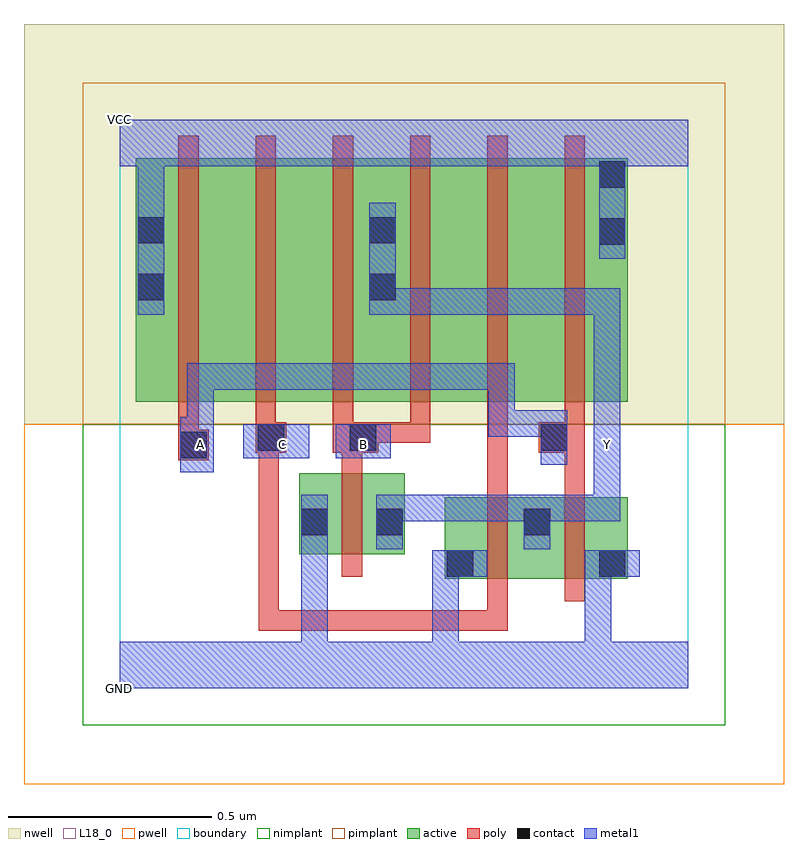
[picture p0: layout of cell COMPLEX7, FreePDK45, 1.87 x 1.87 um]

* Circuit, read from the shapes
.subckt COMPLEX7 A B C GND VCC Y
M1 Y B GND VSUBS nfet w=0.2u l=0.05u
M2 Y C GND VSUBS nfet w=0.2u l=0.05u
M3 GND A Y VSUBS nfet w=0.2u l=0.05u
M4 n1 A VCC n2 pfet w=0.6u l=0.05u
M5 n3 C n1 n2 pfet w=0.6u l=0.05u
M6 Y B n3 n2 pfet w=0.6u l=0.05u
M7 n4 B Y n2 pfet w=0.6u l=0.05u
M8 n5 C n4 n2 pfet w=0.6u l=0.05u
M9 VCC A n5 n2 pfet w=0.6u l=0.05u
.ends

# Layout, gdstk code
import gdstk
lib = gdstk.Library(unit=1e-6, precision=1e-09)
def R(c, l, rs):  # rectangles x0, y0, x1, y1
    for r in rs: c.add(gdstk.rectangle(r[:2], r[2:], *l))
def A(c, l, x, y, w, h, nx, ny, dx, dy):  # array of equal rectangles
    R(c, l, [(x+i*dx, y+j*dy, x+i*dx+w, y+j*dy+h) for i in range(nx) for j in range(ny)])
active = (1, 0)
pwell = (2, 0)
nwell = (3, 0)
nimplant = (4, 0)
pimplant = (5, 0)
poly = (9, 0)
contact = (10, 0)
metal1 = (11, 0)
L18_0 = (18, 0)
boundary = (235, 0)

complex7 = lib.new_cell('COMPLEX7')
R(complex7, active, [(0.8,0.27,0.875,0.47), (0.8,0.27,1.065,0.47), (0.99,0.27,1.25,0.47), (1.175,0.27,1.25,0.47), (0.442,0.33,0.517,0.53), (0.442,0.33,0.702,0.53), (0.627,0.33,0.702,0.53), (0.99,0.332,1.065,0.47), (0.04,0.705,0.115,1.305), (0.04,0.705,0.265,1.305), (0.265,0.705,0.455,1.305), (0.455,0.705,0.685,1.305), (0.61,0.705,0.835,1.305), (0.835,0.705,1.025,1.305), (1.025,0.705,1.25,1.305), (1.175,0.705,1.25,1.305), (0.61,0.707,0.685,1.2)])
R(complex7, pwell, [(-0.235,-0.235,1.635,0.65)])
R(complex7, nwell, [(-0.235,0.65,1.635,1.635)])
R(complex7, nimplant, [(-0.09,-0.09,1.49,0.65)])
R(complex7, pimplant, [(-0.09,0.65,1.49,1.49)])
A(complex7, poly, 0.335, 0.605, 0.05, 0.095, 3, 1, 0.19, 0)
A(complex7, poly, 0.145, 0.65, 0.05, 0.71, 6, 1, 0.19, 0)
R(complex7, poly, [(0.342,0.142,0.392,0.192), (0.342,0.142,0.392,0.192), (0.342,0.142,0.392,0.192), (0.342,0.142,0.525,0.192), (0.342,0.142,0.392,0.617), (0.475,0.142,0.525,0.192), (0.475,0.142,0.67,0.192), (0.62,0.142,0.67,0.192), (0.62,0.142,0.802,0.192), (0.752,0.142,0.802,0.192), (0.752,0.142,0.802,0.192), (0.752,0.142,0.802,0.192), (0.752,0.142,0.955,0.192), (0.905,0.142,0.955,0.192), (0.905,0.142,0.955,0.265), (0.905,0.215,0.955,0.525), (1.095,0.215,1.145,0.525), (0.547,0.275,0.597,0.585), (0.905,0.475,0.955,0.57), (1.095,0.475,1.145,0.63), (0.905,0.52,0.955,0.7), (0.905,0.52,0.955,0.57), (0.547,0.535,0.597,0.63), (0.145,0.562,0.22,0.637), (0.342,0.567,0.392,0.617), (0.342,0.567,0.392,0.617), (0.342,0.567,0.392,0.617), (0.342,0.567,0.392,0.63), (0.335,0.58,0.41,0.655), (0.525,0.58,0.637,0.655), (1.032,0.58,1.145,0.655), (0.145,0.587,0.195,0.7), (0.582,0.605,0.632,0.655), (0.582,0.605,0.637,0.655), (0.587,0.605,0.765,0.655), (0.715,0.605,0.765,0.655), (1.095,0.605,1.145,0.7)])
R(complex7, contact, [(0.805,0.275,0.87,0.34), (1.18,0.275,1.245,0.34), (0.447,0.377,0.512,0.442), (0.632,0.377,0.697,0.442), (0.995,0.377,1.06,0.442), (0.15,0.567,0.215,0.632), (0.34,0.585,0.405,0.65), (0.567,0.585,0.632,0.65), (1.037,0.585,1.102,0.65), (0.045,0.955,0.11,1.02), (0.615,0.955,0.68,1.02), (1.18,1.092,1.245,1.157), (0.045,1.095,0.11,1.16), (0.615,1.095,0.68,1.16), (1.18,1.232,1.245,1.297)])
R(complex7, metal1, [(0,0,1.4,0.115), (0.447,0.05,0.512,0.115), (0.447,0.05,0.512,0.115), (0.447,0.05,0.512,0.115), (0.447,0.05,0.512,0.115), (0.447,0.05,0.512,0.407), (0.77,0.05,0.835,0.115), (0.77,0.05,0.835,0.115), (0.77,0.05,0.835,0.34), (1.145,0.05,1.21,0.115), (1.145,0.05,1.21,0.115), (1.145,0.05,1.21,0.34), (0.77,0.275,0.835,0.34), (0.77,0.275,0.835,0.34), (0.77,0.275,0.905,0.34), (1.145,0.275,1.21,0.34), (1.145,0.275,1.21,0.34), (1.145,0.275,1.28,0.34), (0.447,0.342,0.512,0.477), (0.632,0.342,0.697,0.477), (0.995,0.342,1.06,0.477), (0.632,0.412,0.697,0.477), (0.632,0.412,0.697,0.477), (0.632,0.412,0.835,0.477), (0.77,0.412,0.835,0.477), (0.77,0.412,0.835,0.477), (0.77,0.412,0.835,0.477), (0.77,0.412,1.06,0.477), (0.995,0.412,1.11,0.477), (1.045,0.412,1.11,0.477), (1.045,0.412,1.232,0.477), (1.167,0.412,1.232,0.477), (1.167,0.412,1.232,0.597), (0.15,0.532,0.232,0.667), (1.167,0.532,1.232,0.667), (1.037,0.55,1.102,0.685), (0.305,0.567,0.467,0.65), (0.532,0.567,0.667,0.65), (0.167,0.602,0.232,0.667), (0.167,0.602,0.232,0.667), (0.167,0.602,0.232,0.8), (1.167,0.602,1.232,0.792), (0.907,0.62,0.972,0.685), (0.907,0.62,1.102,0.685), (0.907,0.62,0.972,0.8), (1.167,0.727,1.232,0.985), (1.167,0.727,1.232,0.792), (0.167,0.735,0.232,0.8), (0.167,0.735,0.405,0.8), (0.34,0.735,0.405,0.8), (0.34,0.735,0.405,0.8), (0.34,0.735,0.405,0.8), (0.34,0.735,0.542,0.8), (0.477,0.735,0.542,0.8), (0.477,0.735,0.697,0.8), (0.632,0.735,0.697,0.8), (0.632,0.735,0.697,0.8), (0.632,0.735,0.697,0.8), (0.632,0.735,0.835,0.8), (0.77,0.735,0.835,0.8), (0.77,0.735,0.835,0.8), (0.77,0.735,0.835,0.8), (0.77,0.735,0.972,0.8), (0.907,0.735,0.972,0.8), (0.045,0.92,0.11,1.195), (0.615,0.92,0.68,1.195), (0.615,0.92,0.68,0.985), (0.615,0.92,0.68,0.985), (0.615,0.92,0.835,0.985), (0.77,0.92,0.835,0.985), (0.77,0.92,0.835,0.985), (0.77,0.92,0.835,0.985), (0.77,0.92,1.072,0.985), (1.007,0.92,1.072,0.985), (1.007,0.92,1.092,0.985), (1.027,0.92,1.232,0.985), (1.027,0.92,1.092,0.985), (1.167,0.92,1.232,0.985), (1.18,1.057,1.245,1.332), (0.045,1.13,0.11,1.35), (1.18,1.267,1.245,1.35), (0,1.285,1.4,1.4)])
A(complex7, L18_0, 0.167, 0.567, 0.065, 0.065, 3, 1, 0.2, 0)
R(complex7, L18_0, [(0,0,1.4,0.115), (0.447,0.05,0.512,0.115), (0.447,0.05,0.512,0.115), (0.447,0.05,0.512,0.115), (0.447,0.05,0.512,0.115), (0.447,0.05,0.512,0.407), (0.77,0.05,0.835,0.115), (0.77,0.05,0.835,0.115), (0.77,0.05,0.835,0.34), (1.145,0.05,1.21,0.115), (1.145,0.05,1.21,0.115), (1.145,0.05,1.21,0.34), (0.77,0.275,0.835,0.34), (0.77,0.275,0.835,0.34), (0.77,0.275,0.905,0.34), (1.145,0.275,1.21,0.34), (1.145,0.275,1.21,0.34), (1.145,0.275,1.28,0.34), (0.447,0.342,0.512,0.477), (0.632,0.342,0.697,0.477), (0.995,0.342,1.06,0.477), (0.632,0.412,0.697,0.477), (0.632,0.412,0.697,0.477), (0.632,0.412,0.835,0.477), (0.77,0.412,0.835,0.477), (0.77,0.412,0.835,0.477), (0.77,0.412,0.835,0.477), (0.77,0.412,1.06,0.477), (0.995,0.412,1.11,0.477), (1.045,0.412,1.11,0.477), (1.045,0.412,1.232,0.477), (1.167,0.412,1.232,0.477), (1.167,0.412,1.232,0.597), (0.15,0.532,0.232,0.667), (1.167,0.532,1.232,0.667), (1.037,0.55,1.102,0.685), (0.305,0.567,0.467,0.65), (0.532,0.567,0.667,0.65), (1.167,0.567,1.232,0.632), (0.167,0.602,0.232,0.667), (0.167,0.602,0.232,0.667), (0.167,0.602,0.232,0.8), (1.167,0.602,1.232,0.792), (0.907,0.62,0.972,0.685), (0.907,0.62,0.972,0.8), (0.907,0.62,1.102,0.685), (1.167,0.727,1.232,0.792), (1.167,0.727,1.232,0.985), (0.167,0.735,0.232,0.8), (0.167,0.735,0.405,0.8), (0.34,0.735,0.405,0.8), (0.34,0.735,0.405,0.8), (0.34,0.735,0.405,0.8), (0.34,0.735,0.542,0.8), (0.477,0.735,0.542,0.8), (0.477,0.735,0.697,0.8), (0.632,0.735,0.697,0.8), (0.632,0.735,0.697,0.8), (0.632,0.735,0.697,0.8), (0.632,0.735,0.835,0.8), (0.77,0.735,0.835,0.8), (0.77,0.735,0.835,0.8), (0.77,0.735,0.835,0.8), (0.77,0.735,0.972,0.8), (0.907,0.735,0.972,0.8), (0.045,0.92,0.11,1.195), (0.615,0.92,0.68,1.195), (0.615,0.92,0.68,0.985), (0.615,0.92,0.68,0.985), (0.615,0.92,0.835,0.985), (0.77,0.92,0.835,0.985), (0.77,0.92,0.835,0.985), (0.77,0.92,0.835,0.985), (0.77,0.92,1.072,0.985), (1.007,0.92,1.072,0.985), (1.007,0.92,1.092,0.985), (1.027,0.92,1.092,0.985), (1.027,0.92,1.232,0.985), (1.167,0.92,1.232,0.985), (1.18,1.057,1.245,1.332), (0.045,1.13,0.11,1.35), (1.18,1.267,1.245,1.35), (0,1.285,1.4,1.4)])
R(complex7, boundary, [(0,0,1.4,1.4)])
complex7.add(gdstk.Label('A', (0.2,0.6), layer=11, texttype=0))
complex7.add(gdstk.Label('B', (0.6,0.6), layer=11, texttype=0))
complex7.add(gdstk.Label('C', (0.4,0.6), layer=11, texttype=0))
complex7.add(gdstk.Label('Y', (1.2,0.6), layer=11, texttype=0))
complex7.add(gdstk.Label('VCC', (0,1.4), layer=11, texttype=0))
complex7.add(gdstk.Label('GND', (0,0), layer=11, texttype=0))

lib.write_gds('COMPLEX7.gds')
